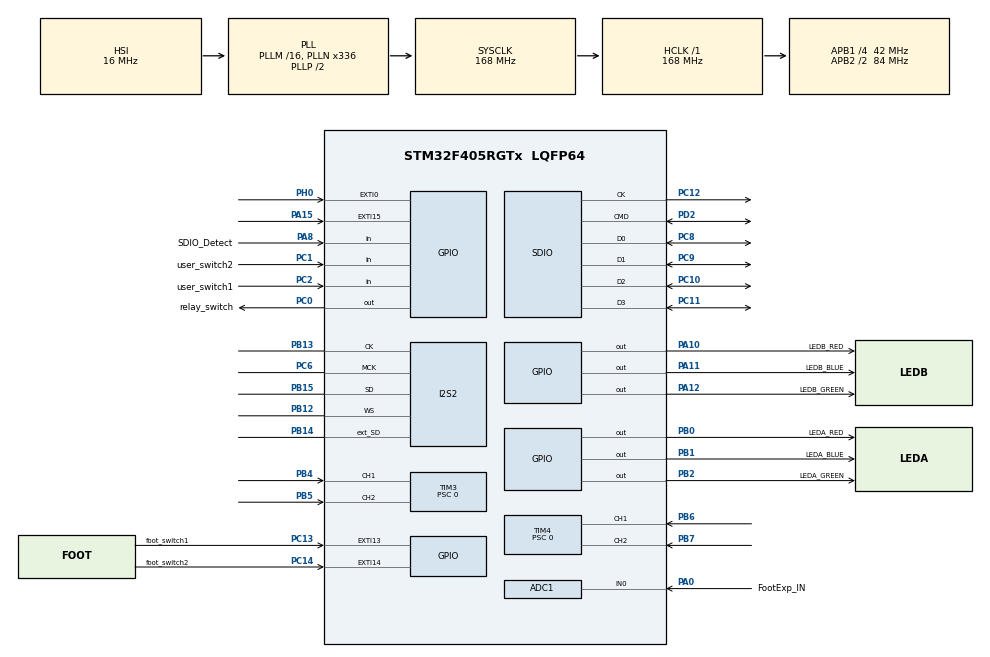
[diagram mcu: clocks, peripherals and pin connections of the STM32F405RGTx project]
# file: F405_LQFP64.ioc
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ADC1.Channel-5\#ChannelRegularConversion=ADC_CHANNEL_0
ADC1.ClockPrescaler=ADC_CLOCK_SYNC_PCLK_DIV8
ADC1.ContinuousConvMode=ENABLE
ADC1.DMAContinuousRequests=ENABLE
ADC1.EOCSelection=ADC_EOC_SINGLE_CONV
ADC1.InjNumberOfConversion=0
ADC1.NbrOfConversion=1
ADC1.NbrOfConversionFlag=1
ADC1.Rank-5\#ChannelRegularConversion=1
ADC1.SamplingTime-5\#ChannelRegularConversion=ADC_SAMPLETIME_480CYCLES
ADC1.ScanConvMode=ENABLE
ADC1.master=1
Dma.ADC1.2.Direction=DMA_PERIPH_TO_MEMORY
Dma.ADC1.2.FIFOMode=DMA_FIFOMODE_DISABLE
Dma.ADC1.2.Instance=DMA2_Stream0
Dma.ADC1.2.MemDataAlignment=DMA_MDATAALIGN_HALFWORD
Dma.ADC1.2.MemInc=DMA_MINC_ENABLE
Dma.ADC1.2.Mode=DMA_CIRCULAR
Dma.ADC1.2.PeriphDataAlignment=DMA_PDATAALIGN_HALFWORD
Dma.ADC1.2.PeriphInc=DMA_PINC_DISABLE
Dma.ADC1.2.Priority=DMA_PRIORITY_LOW
Dma.I2S2_EXT_RX.0.Direction=DMA_PERIPH_TO_MEMORY
Dma.I2S2_EXT_RX.0.FIFOMode=DMA_FIFOMODE_DISABLE
Dma.I2S2_EXT_RX.0.Instance=DMA1_Stream3
Dma.I2S2_EXT_RX.0.MemDataAlignment=DMA_MDATAALIGN_HALFWORD
Dma.I2S2_EXT_RX.0.MemInc=DMA_MINC_ENABLE
Dma.I2S2_EXT_RX.0.Mode=DMA_CIRCULAR
Dma.I2S2_EXT_RX.0.PeriphDataAlignment=DMA_PDATAALIGN_HALFWORD
Dma.I2S2_EXT_RX.0.PeriphInc=DMA_PINC_DISABLE
Dma.I2S2_EXT_RX.0.Priority=DMA_PRIORITY_VERY_HIGH
Dma.Request0=I2S2_EXT_RX
Dma.Request1=SPI2_TX
Dma.Request2=ADC1
Dma.SPI2_TX.1.Direction=DMA_MEMORY_TO_PERIPH
Dma.SPI2_TX.1.FIFOMode=DMA_FIFOMODE_DISABLE
Dma.SPI2_TX.1.Instance=DMA1_Stream4
Dma.SPI2_TX.1.MemDataAlignment=DMA_MDATAALIGN_HALFWORD
Dma.SPI2_TX.1.MemInc=DMA_MINC_ENABLE
Dma.SPI2_TX.1.Mode=DMA_CIRCULAR
Dma.SPI2_TX.1.PeriphDataAlignment=DMA_PDATAALIGN_HALFWORD
Dma.SPI2_TX.1.PeriphInc=DMA_PINC_DISABLE
Dma.SPI2_TX.1.Priority=DMA_PRIORITY_VERY_HIGH
FATFS.BSP.number=1
FATFS0.BSP.STBoard=false
FATFS0.BSP.api=Unknown
FATFS0.BSP.i2caddr=0
FATFS0.BSP.instance=PA8
FATFS0.BSP.ip=GPIO
FATFS0.BSP.mode=Input
FATFS0.BSP.name=Detect_SDIO
FATFS0.BSP.solution=PA8
I2S2.AudioFreq=I2S_AUDIOFREQ_96K
I2S2.DataFormat=I2S_DATAFORMAT_24B
I2S2.ErrorAudioFreq=-2.34 %
I2S2.FullDuplexMode=I2S_FULLDUPLEXMODE_ENABLE
I2S2.Instance=SPI$Index
I2S2.RealAudioFreq=93.75 KHz
I2S2.VirtualMode=I2S_MODE_MASTER
Mcu.Family=STM32F4
Mcu.Name=STM32F405RGTx
Mcu.Package=LQFP64
NVIC.DMA1_Stream3_IRQn=true\:0\:0\:true\:false\:true\:false\:true
NVIC.DMA1_Stream4_IRQn=true\:0\:0\:true\:false\:true\:false\:true
NVIC.DMA2_Stream0_IRQn=true\:0\:0\:false\:false\:true\:false\:true
NVIC.EXTI0_IRQn=true\:0\:0\:false\:false\:true\:true\:true
NVIC.EXTI15_10_IRQn=true\:0\:0\:false\:false\:true\:true\:true
NVIC.PriorityGroup=NVIC_PRIORITYGROUP_4
NVIC.TIM3_IRQn=true\:0\:0\:false\:false\:true\:true\:true
NVIC.TIM4_IRQn=true\:0\:0\:false\:false\:true\:true\:true
NVIC.TIM8_UP_TIM13_IRQn=true\:0\:0\:true\:false\:true\:true\:true
PA0-WKUP.GPIO_Label=FootExp_IN
PA0-WKUP.Signal=ADCx_IN0
PA10.GPIO_Label=LEDB_RED
PA10.Signal=GPIO_Output
PA11.GPIO_Label=LEDB_BLUE
PA11.Signal=GPIO_Output
PA12.GPIO_Label=LEDB_GREEN
PA12.Signal=GPIO_Output
PA13.Mode=Trace_Asynchronous_SW
PA13.Signal=SYS_JTMS-SWDIO
PA14.Mode=Trace_Asynchronous_SW
PA14.Signal=SYS_JTCK-SWCLK
PA15.GPIO_ModeDefaultEXTI=GPIO_MODE_IT_FALLING
PA15.GPIO_PuPd=GPIO_PULLUP
PA15.Signal=GPXTI15
PA8.GPIO_Label=SDIO_Detect
PA8.Signal=GPIO_Input
PB0.GPIO_Label=LEDA_RED
PB0.Signal=GPIO_Output
PB1.GPIO_Label=LEDA_BLUE
PB1.Signal=GPIO_Output
PB12.Mode=Full_Duplex_Master
PB12.Signal=I2S2_WS
PB13.Mode=Full_Duplex_Master
PB13.Signal=I2S2_CK
PB14.Mode=Full_Duplex_Master
PB14.Signal=I2S2_ext_SD
PB15.Mode=Full_Duplex_Master
PB15.Signal=I2S2_SD
PB2.GPIO_Label=LEDA_GREEN
PB2.Signal=GPIO_Output
PB3.Mode=Trace_Asynchronous_SW
PB3.Signal=SYS_JTDO-SWO
PB4.Signal=S_TIM3_CH1
PB5.Signal=S_TIM3_CH2
PB6.Signal=S_TIM4_CH1
PB7.Signal=S_TIM4_CH2
PC0.GPIO_Label=relay_switch
PC0.Signal=GPIO_Output
PC1.GPIO_Label=user_switch2
PC1.Signal=GPIO_Input
PC10.Mode=SD_4_bits_Wide_bus
PC10.Signal=SDIO_D2
PC11.Mode=SD_4_bits_Wide_bus
PC11.Signal=SDIO_D3
PC12.Mode=SD_4_bits_Wide_bus
PC12.Signal=SDIO_CK
PC13-ANTI_TAMP.GPIO_Label=foot_switch1
PC13-ANTI_TAMP.GPIO_ModeDefaultEXTI=GPIO_MODE_IT_FALLING
PC13-ANTI_TAMP.GPIO_PuPd=GPIO_PULLUP
PC13-ANTI_TAMP.Signal=GPXTI13
PC14-OSC32_IN.GPIO_Label=foot_switch2
PC14-OSC32_IN.GPIO_ModeDefaultEXTI=GPIO_MODE_IT_FALLING
PC14-OSC32_IN.GPIO_PuPd=GPIO_PULLUP
PC14-OSC32_IN.Signal=GPXTI14
PC2.GPIO_Label=user_switch1
PC2.Signal=GPIO_Input
PC6.Mode=Master_Clock_Activated
PC6.Signal=I2S2_MCK
PC8.Mode=SD_4_bits_Wide_bus
PC8.Signal=SDIO_D0
PC9.Mode=SD_4_bits_Wide_bus
PC9.Signal=SDIO_D1
PD2.Mode=SD_4_bits_Wide_bus
PD2.Signal=SDIO_CMD
PH0-OSC_IN.GPIO_ModeDefaultEXTI=GPIO_MODE_IT_FALLING
PH0-OSC_IN.GPIO_PuPd=GPIO_PULLUP
PH0-OSC_IN.Signal=GPXTI0
ProjectManager.HeapSize=0x200
ProjectManager.StackSize=0x400
ProjectManager.TargetToolchain=STM32CubeIDE
RCC.48MHZClocksFreq_Value=48000000
RCC.AHBFreq_Value=168000000
RCC.APB1CLKDivider=RCC_HCLK_DIV4
RCC.APB1Freq_Value=42000000
RCC.APB1TimFreq_Value=84000000
RCC.APB2CLKDivider=RCC_HCLK_DIV2
RCC.APB2Freq_Value=84000000
RCC.APB2TimFreq_Value=168000000
RCC.CortexFreq_Value=168000000
RCC.HCLKFreq_Value=168000000
RCC.HSE_VALUE=25000000
RCC.HSI_VALUE=16000000
RCC.LSE_VALUE=32768
RCC.PLLI2SN=384
RCC.PLLN=336
RCC.PLLQ=7
RCC.SYSCLKFreq_VALUE=168000000
RCC.SYSCLKSource=RCC_SYSCLKSOURCE_PLLCLK
RCC.VCOOutputFreq_Value=336000000
SDIO.ClockDiv=4
SH.ADCx_IN0.0=ADC1_IN0,IN0
SH.S_TIM3_CH1.0=TIM3_CH1,Encoder_Interface
SH.S_TIM3_CH2.0=TIM3_CH2,Encoder_Interface
SH.S_TIM4_CH1.0=TIM4_CH1,Encoder_Interface
SH.S_TIM4_CH2.0=TIM4_CH2,Encoder_Interface
TIM13.Prescaler=1
TIM3.AutoReloadPreload=TIM_AUTORELOAD_PRELOAD_ENABLE
TIM3.CounterMode=TIM_COUNTERMODE_CENTERALIGNED3
TIM3.EncoderMode=TIM_ENCODERMODE_TI2
TIM3.IC1Polarity=TIM_ICPOLARITY_RISING
TIM3.IC2Polarity=TIM_ICPOLARITY_RISING
TIM3.Period=1024
TIM3.Prescaler=0
TIM3.TIM_MasterOutputTrigger=TIM_TRGO_UPDATE
TIM4.AutoReloadPreload=TIM_AUTORELOAD_PRELOAD_ENABLE
TIM4.CounterMode=TIM_COUNTERMODE_CENTERALIGNED3
TIM4.EncoderMode=TIM_ENCODERMODE_TI2
TIM4.IC1Polarity=TIM_ICPOLARITY_RISING
TIM4.IC2Polarity=TIM_ICPOLARITY_RISING
TIM4.Period=1024
TIM4.Prescaler=0
TIM4.TIM_MasterOutputTrigger=TIM_TRGO_UPDATE
VP_FATFS_VS_SDIO.Mode=SDIO
VP_TIM13_VS_ClockSourceINT.Mode=Enable_Timer
board=custom

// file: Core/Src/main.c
/* USER CODE BEGIN Header */
/**
  ******************************************************************************
  * @file           : main.c
  * @brief          : Main program body
  ******************************************************************************
  * @attention
  *
  * <h2><center>&copy; Copyright (c) 2020 STMicroelectronics.
  * All rights reserved.</center></h2>
  *
  * This software component is licensed by ST under BSD 3-Clause license,
  * the "License"; You may not use this file except in compliance with the
  * License. You may obtain a copy of the License at:
  *                        opensource.org/licenses/BSD-3-Clause
  *
  ******************************************************************************
  */
/* USER CODE END Header */
#include "main.h"
#include "adc.h"
#include "dma.h"
#include "fatfs.h"
#include "i2s.h"
#include "sdio.h"
#include "tim.h"
#include "gpio.h"

/* USER CODE BEGIN Includes */
#include <math.h>

#include "arm_math.h"
#include "user_input.h"
#include "use_microsd.h"
/* USER CODE END Includes */

/* USER CODE BEGIN PD */

#define IIR_BIQUAD
//#define REAL_FFT

/* USER CODE END PD */

/* USER CODE BEGIN PV */

#ifdef REAL_FFT

	uint16_t rxBuf[16384];
	uint16_t txBuf[16384];
	float32_t fft_in_buf[2048];
	float32_t fft_out_buf[2048];

	arm_rfft_fast_instance_f32 fft_handler;

	float real_fsample = 46875;
	uint8_t callback_state = 0;
	uint8_t outarray[14];
	uint8_t uartfree = 1;

#endif // Real_FFT

#ifdef IIR_BIQUAD

	#define BLOCK_SIZE_FLOAT 512
	#define BLOCK_SIZE_U16 2048

	arm_biquad_casd_df1_inst_f32 iirsettings_l, iirsettings_r;

	//4 delayed samples per biquad
	float iir_l_state [4];
	float iir_r_state [4];

	//IIR low-pass, fs=48kHz, f_cut=1kHz, q=0.707
	float iir_coeffs [5] = {
					0.003916123487156427f,
					0.007832246974312854f,
					0.003916123487156427f,
					1.8153396116625289f,
					-0.8310041056111546
	};

	uint16_t rxBuf[BLOCK_SIZE_U16*2];
	uint16_t txBuf[BLOCK_SIZE_U16*2];
	float l_buf_in [BLOCK_SIZE_FLOAT*2];
	float r_buf_in [BLOCK_SIZE_FLOAT*2];
	float l_buf_out [BLOCK_SIZE_FLOAT*2];
	float r_buf_out [BLOCK_SIZE_FLOAT*2];

	uint8_t callback_state = 0;

	int offset_r_ptr;
	int offset_w_ptr, w_ptr;
#endif //IIR_BIQUAD

/* USER CODE END PV */

void SystemClock_Config(void);

/* USER CODE BEGIN 0 */
int _write(int file, char *ptr, int len) {
  (void) file;  /// Not used, avoid warning
  SEGGER_RTT_Write(0, ptr, len);
  return len;
}

#ifdef REAL_FFT

void real_fft_init()
{
	HAL_I2SEx_TransmitReceive_DMA (&hi2s2, txBuf, rxBuf, 8192);

	arm_rfft_fast_init_f32(&fft_handler, 2048);

}

float complexABS(float real, float compl) {
	return sqrtf(real*real+compl*compl);
}

void do_fft() {
	//Do FFT
	arm_rfft_fast_f32(&fft_handler, fft_in_buf, fft_out_buf,0);

	int freqs[1024];
	int freqpoint = 0;
	int offset = 150; //variable noisefloor offset

	//calculate abs values and linear-to-dB
	for (int i=0; i<2048; i=i+2) {
		freqs[freqpoint] = (int)(20*log10f(complexABS(fft_out_buf[i], fft_out_buf[i+1])))-offset;
		if (freqs[freqpoint]<0) freqs[freqpoint]=0;
		freqpoint++;
	}

	//push out data to Uart
	outarray[0] = 0xff; //frame start
	outarray[1] = (uint8_t)freqs[1]; //31-5Hz
	outarray[2] = (uint8_t)freqs[3]; //63 Hz
	outarray[3] = (uint8_t)freqs[5]; //125 Hz
	outarray[4] = (uint8_t)freqs[11]; //250 Hz
	outarray[5] = (uint8_t)freqs[22]; //500 Hz
	outarray[6] = (uint8_t)freqs[44]; //1 kHz
	outarray[7] = (uint8_t)freqs[96]; //2.2 kHz
	outarray[8] = (uint8_t)freqs[197]; //4.5 kHz
	outarray[9] = (uint8_t)freqs[393]; //9 kHz
	outarray[10] = (uint8_t)freqs[655]; //15 lHz

	printf("%u - %u - %u - %u - %u - %u - %u - %u - %u - %u - %u - %u - %u - %u\r\n",
			outarray[0],
			outarray[1],
			outarray[2],
			outarray[3],
			outarray[4],
			outarray[5],
			outarray[6],
			outarray[7],
			outarray[8],
			outarray[9],
			outarray[10],
			outarray[11],
			outarray[12],
			outarray[13]
	);
//	if (uartfree==1) HAL_UART_Transmit_DMA(&huart2, &outarray[0], 11);
	uartfree = 0;
	callback_state=0;

}
/*
void HAL_UART_TxHalfCpltCallback (UART_HandleTypeDef *huart) {
	uartfree = 1;
	huart2.gState=HAL_UART_STATE_READY;
}
*/

void HAL_I2SEx_TxRxHalfCpltCallback(I2S_HandleTypeDef *hi2s){

 	callback_state = 1;

}

void HAL_I2SEx_TxRxCpltCallback(I2S_HandleTypeDef *hi2s){

	callback_state = 2;

}

void real_fft_loop()
{
	//do audio loopback and push mono-sum to fft_in_buf

  int fft_in_ptr = 0;
  if (callback_state == 1) {
	  for (int i=0; i<8192; i=i+4) {
		  fft_in_buf[fft_in_ptr] = (float) ((int) (rxBuf[i]<<16)|rxBuf[i+1]);
		  fft_in_buf[fft_in_ptr] += (float) ((int) (rxBuf[i+2]<<16)|rxBuf[i+3]);
		  txBuf[i] = rxBuf[i];
		  txBuf[i+1] = rxBuf[i+1];
		  txBuf[i+2] = rxBuf[i+2];
		  txBuf[i+3] = rxBuf[i+3];
		  fft_in_ptr++;
	  }

	  do_fft();
  }

  if (callback_state == 2) {
	  for (int i=8192; i<16384; i=i+4) {
		  fft_in_buf[fft_in_ptr] = (float) ((int) (rxBuf[i]<<16)|rxBuf[i+1]);
		  fft_in_buf[fft_in_ptr] += (float) ((int) (rxBuf[i+2]<<16)|rxBuf[i+3]);
		  txBuf[i] = rxBuf[i];
		  txBuf[i+1] = rxBuf[i+1];
		  txBuf[i+2] = rxBuf[i+2];
		  txBuf[i+3] = rxBuf[i+3];
		  fft_in_ptr++;
	  }

	  do_fft();

  }
}

#endif // REAL_FFT

#ifdef IIR_BIQUAD
void HAL_I2SEx_TxRxHalfCpltCallback(I2S_HandleTypeDef *hi2s){

	callback_state = 1;

}

void HAL_I2SEx_TxRxCpltCallback(I2S_HandleTypeDef *hi2s){

	callback_state = 2;

}

void do_iir_init()
{
  arm_biquad_cascade_df1_init_f32 ( &iirsettings_l, 1, &iir_coeffs[0], &iir_l_state[0]);
  arm_biquad_cascade_df1_init_f32 ( &iirsettings_r, 1, &iir_coeffs[0], &iir_r_state[0]);

  //int res = testfunc();
  HAL_I2SEx_TransmitReceive_DMA (&hi2s2, txBuf, rxBuf, BLOCK_SIZE_U16);

}

void do_iir_loop()
{
  if (callback_state != 0) {

	  //decide if it was half or cplt callback
	  if (callback_state == 1)   {
			  offset_r_ptr = 0;
			  offset_w_ptr = 0;
			  w_ptr = 0;
	  }

	  else if (callback_state == 2) {
		  offset_r_ptr = BLOCK_SIZE_U16;
		  offset_w_ptr = BLOCK_SIZE_FLOAT;
		  w_ptr = BLOCK_SIZE_FLOAT;
	  }

	  //restore input sample buffer to float array
	  for (int i=offset_r_ptr; i<offset_r_ptr+BLOCK_SIZE_U16; i=i+4) {
		  l_buf_in[w_ptr] = (float) ((int) (rxBuf[i]<<16)|rxBuf[i+1]);
		  r_buf_in[w_ptr] = (float) ((int) (rxBuf[i+2]<<16)|rxBuf[i+3]);
		  w_ptr++;
	  }

	  //process IIR
	  arm_biquad_cascade_df1_f32 (&iirsettings_l, &l_buf_in[offset_w_ptr], &l_buf_out[offset_w_ptr],BLOCK_SIZE_FLOAT);
	  arm_biquad_cascade_df1_f32 (&iirsettings_r, &r_buf_in[offset_w_ptr], &r_buf_out[offset_w_ptr],BLOCK_SIZE_FLOAT);

	  //restore processed float-array to output sample-buffer
	  w_ptr = offset_w_ptr;

	  for (int i=offset_r_ptr; i<offset_r_ptr+BLOCK_SIZE_U16; i=i+4) {
			txBuf[i] =  (((int)l_buf_out[w_ptr])>>16)&0xFFFF;
			txBuf[i+1] = ((int)l_buf_out[w_ptr])&0xFFFF;
			txBuf[i+2] = (((int)l_buf_out[w_ptr])>>16)&0xFFFF;
			txBuf[i+3] = ((int)l_buf_out[w_ptr])&0xFFFF;
			w_ptr++;
	  }

	  callback_state = 0;

  }
}
#endif // IIR_BIQUAD

/* USER CODE END 0 */

int main(void)
{

  /* MCU Configuration--------------------------------------------------------*/

  /* Reset of all peripherals, Initializes the Flash interface and the Systick. */
  HAL_Init();

  /* Configure the system clock */
  SystemClock_Config();

  /* Initialize all configured peripherals */
  MX_GPIO_Init();
  MX_DMA_Init();
  MX_ADC1_Init();
  MX_I2S2_Init();
  MX_TIM13_Init();
  MX_SDIO_SD_Init();
  MX_FATFS_Init();
  MX_TIM3_Init();
  MX_TIM4_Init();
  /* USER CODE BEGIN 2 */
  SEGGER_RTT_ConfigUpBuffer(0, NULL, NULL, 0, SEGGER_RTT_MODE_NO_BLOCK_TRIM);

  // enable ADC input for expression pedal input
  HAL_ADC_Start_DMA(&hadc1, adc_input_data_buffer, ADC_DATA_BUFFER_SIZE);
  //HAL_TIM_Base_Start_IT(&htim13);

  //enable the rotary encoders
  HAL_TIM_Encoder_Start(&htim3, TIM_CHANNEL_ALL);
  HAL_TIM_Encoder_Start(&htim4, TIM_CHANNEL_ALL);

  // read from microSD card
  read_sdio_data();

  HAL_Delay(5000);

#ifdef IIR_BIQUAD
  do_iir_init();
#endif //IIR_BIQUAD

#ifdef REAL_FFT
  real_fft_init();
#endif // REAL_FFT

  /* USER CODE END 2 */

  /* Infinite loop */
  /* USER CODE BEGIN WHILE */
  while (1)
  {

	/*
	// do dsp
	#ifdef IIR_BIQUAD
		do_iir_loop();
	#endif //IIR_BIQUAD

	#ifdef REAL_FFT
		real_fft_loop();
	#endif //REAL_FFT
*/
	// check the toggle button positions
	check_user_buttons_state();

	// check rotary encoder values and directions
	uint32_t tim3_dir = (TIM3->CR1 & TIM_CR1_DIR);
	uint32_t tim4_dir = (TIM4->CR1 & TIM_CR1_DIR);
	printf("RIGHT KNOB %lu (%lu) - LEFT KNOB %lu (%lu) - EXP %lu\r\n", TIM3->CNT, tim3_dir , TIM4->CNT , tim4_dir, adc_input_data_buffer[0]);

    /* USER CODE END WHILE */

  }
}

void SystemClock_Config(void)
{
  RCC_OscInitTypeDef RCC_OscInitStruct = {0};
  RCC_ClkInitTypeDef RCC_ClkInitStruct = {0};
  RCC_PeriphCLKInitTypeDef PeriphClkInitStruct = {0};

  /** Configure the main internal regulator output voltage
  */
  __HAL_RCC_PWR_CLK_ENABLE();
  __HAL_PWR_VOLTAGESCALING_CONFIG(PWR_REGULATOR_VOLTAGE_SCALE1);
  /** Initializes the RCC Oscillators according to the specified parameters
  * in the RCC_OscInitTypeDef structure.
  */
  RCC_OscInitStruct.OscillatorType = RCC_OSCILLATORTYPE_HSI;
  RCC_OscInitStruct.HSIState = RCC_HSI_ON;
  RCC_OscInitStruct.HSICalibrationValue = RCC_HSICALIBRATION_DEFAULT;
  RCC_OscInitStruct.PLL.PLLState = RCC_PLL_ON;
  RCC_OscInitStruct.PLL.PLLSource = RCC_PLLSOURCE_HSI;
  RCC_OscInitStruct.PLL.PLLM = 16;
  RCC_OscInitStruct.PLL.PLLN = 336;
  RCC_OscInitStruct.PLL.PLLP = RCC_PLLP_DIV2;
  RCC_OscInitStruct.PLL.PLLQ = 7;
  if (HAL_RCC_OscConfig(&RCC_OscInitStruct) != HAL_OK)
  {
    Error_Handler();
  }
  /** Initializes the CPU, AHB and APB buses clocks
  */
  RCC_ClkInitStruct.ClockType = RCC_CLOCKTYPE_HCLK|RCC_CLOCKTYPE_SYSCLK
                              |RCC_CLOCKTYPE_PCLK1|RCC_CLOCKTYPE_PCLK2;
  RCC_ClkInitStruct.SYSCLKSource = RCC_SYSCLKSOURCE_PLLCLK;
  RCC_ClkInitStruct.AHBCLKDivider = RCC_SYSCLK_DIV1;
  RCC_ClkInitStruct.APB1CLKDivider = RCC_HCLK_DIV4;
  RCC_ClkInitStruct.APB2CLKDivider = RCC_HCLK_DIV2;

  if (HAL_RCC_ClockConfig(&RCC_ClkInitStruct, FLASH_LATENCY_5) != HAL_OK)
  {
    Error_Handler();
  }
  PeriphClkInitStruct.PeriphClockSelection = RCC_PERIPHCLK_I2S;
  PeriphClkInitStruct.PLLI2S.PLLI2SN = 384;
  PeriphClkInitStruct.PLLI2S.PLLI2SR = 2;
  if (HAL_RCCEx_PeriphCLKConfig(&PeriphClkInitStruct) != HAL_OK)
  {
    Error_Handler();
  }
}

void Error_Handler(void)
{
}

/************************ (C) COPYRIGHT STMicroelectronics *****END OF FILE****/
